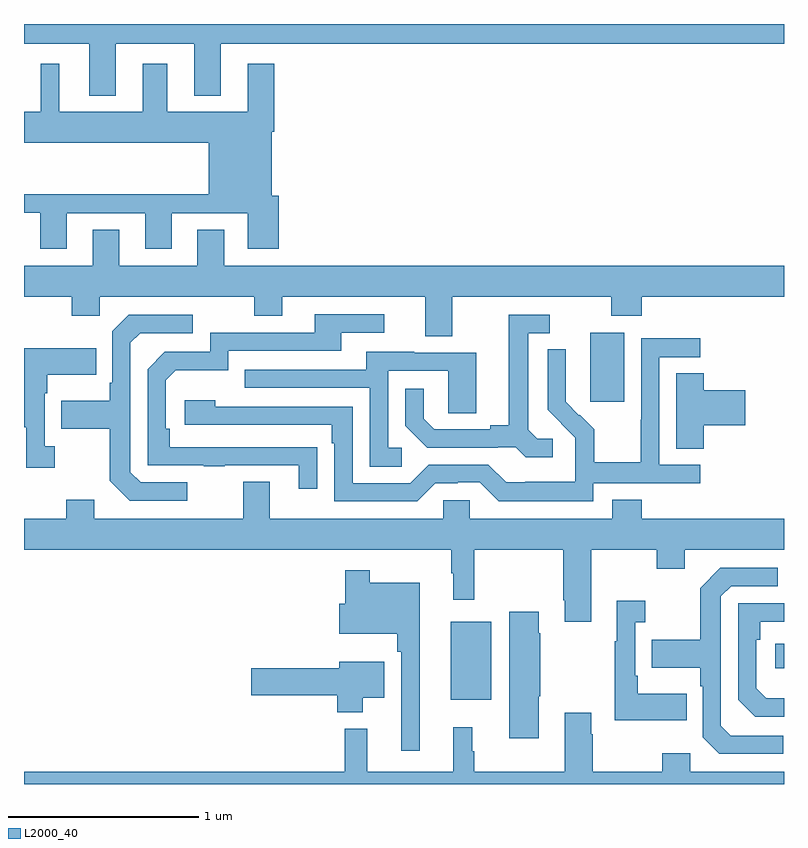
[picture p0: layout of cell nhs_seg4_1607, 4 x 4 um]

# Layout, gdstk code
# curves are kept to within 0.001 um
import gdstk
lib = gdstk.Library(unit=1e-6, precision=1e-09)
def R(c, l, rs):  # rectangles x0, y0, x1, y1
    for r in rs: c.add(gdstk.rectangle(r[:2], r[2:], *l))
def P(c, l, *ps):  # polygons
    for p in ps: c.add(gdstk.Polygon(p, *l))
L2000_40 = (2000, 40)

nhs_seg4_1607 = lib.new_cell('nhs_seg4_1607')
R(nhs_seg4_1607, L2000_40, [(195.245,817.343,195.46,817.753), (196.953,817.508,197,817.638), (195.98,818.913,196.159,819.274)])
P(nhs_seg4_1607, L2000_40, [(193.483,820.796),(193.895,820.796),(193.895,820.523),(194.035,820.523),(194.035,820.796),(197,820.796),(197,820.9),(193,820.9),(193,820.796),(193.343,820.796),(193.343,820.523),(193.483,820.523)],
  [(193.225,819.903),(193.637,819.903),(193.637,819.717),(193.777,819.717),(193.777,819.903),(194.177,819.903),(194.177,819.717),(194.342,819.717),(194.342,819.996),(194.305,819.996),(194.305,820.334),(194.318,820.334),(194.318,820.69),(194.177,820.69),(194.177,820.438),(193.753,820.438),(193.753,820.69),(193.625,820.69),(193.625,820.438),(193.186,820.438),(193.186,820.69),(193.088,820.69),(193.088,820.438),(193,820.438),(193,820.274),(193.973,820.274),(193.973,820.004),(193,820.004),(193,819.906),(193.085,819.906),(193.085,819.717),(193.225,819.717)],
  [(195.253,819.464),(196.09,819.464),(196.09,819.365),(196.25,819.365),(196.25,819.464),(197,819.464),(197,819.628),(194.053,819.628),(194.053,819.818),(193.913,819.818),(193.913,819.628),(193.501,819.628),(193.501,819.818),(193.361,819.818),(193.361,819.628),(193,819.628),(193,819.464),(193.252,819.464),(193.252,819.365),(193.398,819.365),(193.398,819.464),(194.212,819.464),(194.212,819.365),(194.359,819.365),(194.359,819.464),(195.113,819.464),(195.113,819.256),(195.253,819.256)],
  [(194.543,818.672),(193.766,818.673),(193.766,818.77),(193.746,818.77),(193.746,819.024),(193.799,819.077),(194.076,819.077),(194.076,819.18),(194.671,819.18),(194.671,819.276),(194.896,819.276),(194.896,819.372),(194.531,819.372),(194.531,819.276),(193.98,819.276),(193.98,819.174),(193.74,819.174),(193.65,819.084),(193.65,818.577),(193.945,818.577),(193.945,818.572),(194.057,818.572),(194.057,818.577),(194.447,818.577),(194.447,818.454),(194.543,818.454)],
  [(193.858,818.487),(193.614,818.487),(193.56,818.541),(193.56,819.222),(193.611,819.273),(193.888,819.273),(193.888,819.369),(193.551,819.369),(193.464,819.282),(193.464,819.013),(193.452,819.013),(193.452,818.917),(193.195,818.917),(193.195,818.77),(193.452,818.77),(193.452,818.497),(193.557,818.391),(193.858,818.391)],
  [(195.784,818.718),(195.702,818.718),(195.655,818.765),(195.655,819.273),(195.766,819.273),(195.766,819.369),(195.551,819.369),(195.551,818.789),(195.455,818.789),(195.455,818.766),(195.16,818.766),(195.103,818.823),(195.103,818.98),(195.006,818.98),(195.006,818.786),(195.122,818.67),(195.494,818.67),(195.494,818.673),(195.588,818.673),(195.64,818.621),(195.784,818.621)],
  [(195.996,818.484),(196.558,818.484),(196.558,818.58),(196.344,818.58),(196.344,819.147),(196.558,819.147),(196.558,819.246),(196.248,819.246),(196.248,818.816),(196.246,818.816),(196.246,818.593),(196.001,818.593),(196.001,818.767),(195.924,818.844),(195.921,818.841),(195.851,818.912),(195.852,819.188),(195.756,819.188),(195.756,818.87),(195.902,818.722),(195.902,818.625),(195.9,818.625),(195.9,818.491),(195.637,818.491),(195.637,818.487),(195.537,818.487),(195.444,818.58),(195.129,818.58),(195.033,818.484),(194.73,818.484),(194.73,818.886),(194.006,818.886),(194.006,818.92),(193.845,818.92),(193.845,818.79),(194.621,818.79),(194.621,818.693),(194.634,818.693),(194.634,818.388),(195.069,818.388),(195.165,818.484),(195.284,818.484),(195.284,818.487),(195.399,818.487),(195.499,818.387),(195.996,818.387)],
  [(193.162,818.678),(193.11,818.678),(193.11,818.957),(193.123,818.957),(193.123,819.053),(193.379,819.053),(193.379,819.193),(193.002,819.193),(193.002,818.777),(193.013,818.777),(193.013,818.565),(193.162,818.565)],
  [(194.989,818.67),(194.916,818.67),(194.916,819.075),(195.234,819.075),(195.234,818.851),(195.379,818.851),(195.379,819.171),(195.055,819.171),(195.055,819.175),(194.801,819.175),(194.801,819.081),(194.161,819.081),(194.161,818.985),(194.82,818.985),(194.82,818.569),(194.989,818.569)],
  [(196.577,818.789),(196.795,818.789),(196.795,818.972),(196.577,818.972),(196.577,819.062),(196.433,819.062),(196.433,818.665),(196.577,818.665)],
  [(195.985,818.132),(196.33,818.132),(196.33,818.033),(196.477,818.033),(196.477,818.132),(197,818.132),(197,818.296),(196.25,818.296),(196.25,818.395),(196.097,818.395),(196.097,818.296),(195.345,818.296),(195.345,818.394),(195.207,818.394),(195.207,818.296),(194.293,818.296),(194.293,818.491),(194.153,818.491),(194.153,818.296),(193.369,818.296),(193.369,818.395),(193.222,818.395),(193.222,818.296),(193,818.296),(193,818.132),(195.249,818.132),(195.249,818.009),(195.26,818.009),(195.26,817.869),(195.37,817.869),(195.37,818.132),(195.838,818.132),(195.838,817.867),(195.845,817.867),(195.845,817.755),(195.985,817.755)],
  [(196.996,817.155),(196.719,817.155),(196.668,817.206),(196.668,817.887),(196.722,817.941),(196.966,817.941),(196.966,818.037),(196.665,818.037),(196.56,817.931),(196.56,817.659),(196.303,817.659),(196.303,817.511),(196.56,817.511),(196.56,817.415),(196.572,817.415),(196.572,817.146),(196.659,817.059),(196.996,817.059)],
  [(195.082,817.96),(194.821,817.96),(194.821,818.026),(194.692,818.026),(194.692,817.849),(194.658,817.849),(194.658,817.691),(194.965,817.691),(194.965,817.595),(194.985,817.595),(194.985,817.074),(195.082,817.074)],
  [(196.487,817.375),(196.231,817.375),(196.231,817.471),(196.218,817.471),(196.218,817.751),(196.27,817.751),(196.27,817.864),(196.121,817.864),(196.121,817.651),(196.11,817.651),(196.11,817.235),(196.487,817.235)],
  [(197,817.351),(196.907,817.351),(196.854,817.404),(196.854,817.658),(196.874,817.658),(196.874,817.755),(197,817.755),(197,817.851),(196.758,817.851),(196.758,817.344),(196.848,817.254),(197,817.254)],
  [(195.709,817.363),(195.717,817.363),(195.717,817.694),(195.709,817.694),(195.709,817.807),(195.554,817.807),(195.554,817.14),(195.709,817.14)],
  [(194.782,817.355),(194.896,817.355),(194.896,817.543),(194.66,817.543),(194.66,817.508),(194.196,817.508),(194.196,817.366),(194.648,817.366),(194.648,817.277),(194.782,817.277)],
  [(197,816.964),(196.506,816.964),(196.506,817.063),(196.36,817.063),(196.36,816.964),(195.993,816.964),(195.993,817.163),(195.985,817.163),(195.985,817.276),(195.845,817.276),(195.845,816.964),(195.37,816.964),(195.37,817.073),(195.359,817.073),(195.359,817.198),(195.26,817.198),(195.26,816.964),(194.807,816.964),(194.807,817.192),(194.689,817.192),(194.689,816.964),(193,816.964),(193,816.9),(197,816.9)])

lib.write_gds('nhs_seg4_1607.gds')
